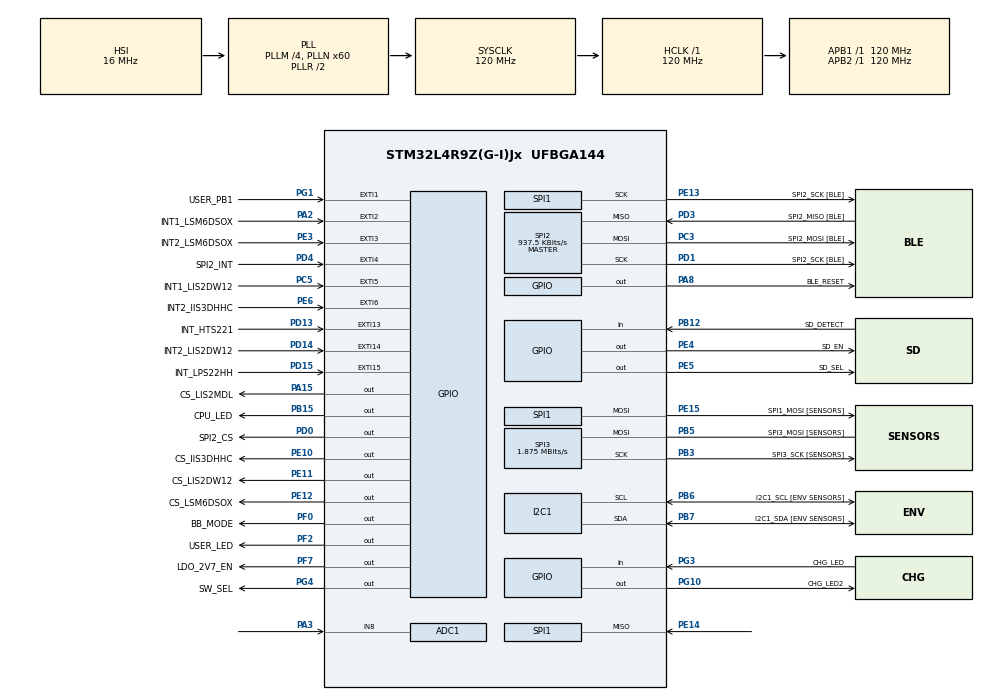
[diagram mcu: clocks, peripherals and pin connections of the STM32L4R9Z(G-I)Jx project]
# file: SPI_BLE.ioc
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ADC1.Channel-7\#ChannelRegularConversion=ADC_CHANNEL_8
ADC1.NbrOfConversionFlag=1
ADC1.OffsetNumber-7\#ChannelRegularConversion=ADC_OFFSET_NONE
ADC1.Rank-7\#ChannelRegularConversion=1
ADC1.SamplingTime-7\#ChannelRegularConversion=ADC_SAMPLETIME_2CYCLES_5
ADC1.master=1
I2C1.Timing=0x307075B1
Mcu.Family=STM32L4
Mcu.Name=STM32L4R9Z(G-I)Jx
Mcu.Package=UFBGA144
NVIC.EXTI4_IRQn=true\:1\:0\:true\:false\:true\:true\:true
NVIC.PriorityGroup=NVIC_PRIORITYGROUP_4
NVIC.TIM6_DAC_IRQn=true\:0\:0\:false\:false\:true\:true\:true
PA11.GPIO_Label=USB OTG DM
PA11.Signal=USB_OTG_FS_DM
PA12.GPIO_Label=USB OTG DP
PA12.Signal=USB_OTG_FS_DP
PA15\ (JTDI).GPIO_Label=CS_LIS2MDL
PA15\ (JTDI).GPIO_ModeDefaultOutputPP=GPIO_MODE_OUTPUT_OD
PA15\ (JTDI).GPIO_Speed=GPIO_SPEED_FREQ_VERY_HIGH
PA15\ (JTDI).PinState=GPIO_PIN_SET
PA15\ (JTDI).Signal=GPIO_Output
PA2.GPIO_Label=INT1_LSM6DSOX
PA2.Signal=GPXTI2
PA3.Signal=ADCx_IN8
PA8.GPIO_Label=BLE_RESET
PA8.Signal=GPIO_Output
PB12.GPIO_Label=SD_DETECT
PB12.Signal=GPIO_Input
PB15.GPIO_Label=CPU_LED
PB15.Signal=GPIO_Output
PB3\ (JTDO/TRACESWO).GPIO_Label=SPI3_SCK [SENSORS]
PB3\ (JTDO/TRACESWO).GPIO_PuPd=GPIO_PULLUP
PB3\ (JTDO/TRACESWO).Mode=Simplex_Bidirectional_Master
PB3\ (JTDO/TRACESWO).Signal=SPI3_SCK
PB4\ (NJTRST).GPIO_Label=SPI3_MISO [SENSORS]
PB4\ (NJTRST).Signal=SPI3_MISO
PB5.GPIO_Label=SPI3_MOSI [SENSORS]
PB5.Mode=Simplex_Bidirectional_Master
PB5.Signal=SPI3_MOSI
PB6.GPIO_Label=I2C1_SCL [ENV SENSORS]
PB6.Mode=I2C
PB6.Signal=I2C1_SCL
PB7.GPIO_Label=I2C1_SDA [ENV SENSORS]
PB7.Mode=I2C
PB7.Signal=I2C1_SDA
PB8.GPIO_Label=SDMMC1_CKIN
PB8.Signal=SDMMC1_CKIN
PB9.GPIO_Label=SDMMC1_CDIR
PB9.Signal=SDMMC1_CDIR
PC10.GPIO_Label=SDMMC1_D2
PC10.Signal=SDMMC1_D2
PC11.GPIO_Label=SDMMC1_D3
PC11.Signal=SDMMC1_D3
PC12.GPIO_Label=SDMMC1_CK
PC12.Signal=SDMMC1_CK
PC14-OSC32_IN\ (PC14).GPIO_Label=RCC_OSC32_IN
PC14-OSC32_IN\ (PC14).Mode=LSE-External-Oscillator
PC14-OSC32_IN\ (PC14).Signal=RCC_OSC32_IN
PC15-OSC32_OUT\ (PC15).GPIO_Label=RCC-OSC32_OUT
PC15-OSC32_OUT\ (PC15).Mode=LSE-External-Oscillator
PC15-OSC32_OUT\ (PC15).Signal=RCC_OSC32_OUT
PC3.GPIO_Label=SPI2_MOSI [BLE]
PC3.Mode=Full_Duplex_Master
PC3.Signal=SPI2_MOSI
PC4.Signal=ADCx_IN13
PC5.GPIO_Label=INT1_LIS2DW12
PC5.Signal=GPXTI5
PC6.GPIO_Label=SDMMC1_D0DIR
PC6.Signal=SDMMC1_D0DIR
PC7.GPIO_Label=SDMMC1_D123DIR
PC7.Signal=SDMMC1_D123DIR
PC8.GPIO_Label=SDMMC1_D0
PC8.Signal=SDMMC1_D0
PC9.GPIO_Label=SDMMC1_D1
PC9.Signal=SDMMC1_D1
PD0.GPIO_Label=SPI2_CS
PD0.GPIO_PuPd=GPIO_PULLUP
PD0.GPIO_Speed=GPIO_SPEED_FREQ_VERY_HIGH
PD0.PinState=GPIO_PIN_SET
PD0.Signal=GPIO_Output
PD1.GPIO_Label=SPI2_SCK [BLE]
PD1.Mode=Full_Duplex_Master
PD1.Signal=SPI2_SCK
PD13.GPIO_Label=INT_HTS221
PD13.Signal=GPXTI13
PD14.GPIO_Label=INT2_LIS2DW12
PD14.Signal=GPXTI14
PD15.GPIO_Label=INT_LPS22HH
PD15.Signal=GPXTI15
PD2.GPIO_Label=SDMMC1_CMD
PD2.Signal=SDMMC1_CMD
PD3.GPIO_Label=SPI2_MISO [BLE]
PD3.Mode=Full_Duplex_Master
PD3.Signal=SPI2_MISO
PD4.GPIO_Label=SPI2_INT
PD4.GPIO_PuPd=GPIO_PULLDOWN
PD4.Signal=GPXTI4
PD5.GPIO_Label=USART2_TX [SERIAL PORT]
PD5.Signal=USART2_TX
PD6.GPIO_Label=USART2_RX [SERIAL PORT]
PD6.Signal=USART2_RX
PE10.GPIO_Label=CS_IIS3DHHC
PE10.GPIO_ModeDefaultOutputPP=GPIO_MODE_OUTPUT_OD
PE10.GPIO_Speed=GPIO_SPEED_FREQ_VERY_HIGH
PE10.PinState=GPIO_PIN_SET
PE10.Signal=GPIO_Output
PE11.GPIO_Label=CS_LIS2DW12
PE11.GPIO_ModeDefaultOutputPP=GPIO_MODE_OUTPUT_OD
PE11.GPIO_Speed=GPIO_SPEED_FREQ_VERY_HIGH
PE11.PinState=GPIO_PIN_SET
PE11.Signal=GPIO_Output
PE12.GPIO_Label=CS_LSM6DSOX
PE12.GPIO_ModeDefaultOutputPP=GPIO_MODE_OUTPUT_OD
PE12.GPIO_Speed=GPIO_SPEED_FREQ_VERY_HIGH
PE12.PinState=GPIO_PIN_SET
PE12.Signal=GPIO_Output
PE13.GPIO_Label=SPI2_SCK [BLE]
PE13.GPIO_PuPd=GPIO_PULLUP
PE13.Mode=Full_Duplex_Master
PE13.Signal=SPI1_SCK
PE14.Mode=Full_Duplex_Master
PE14.Signal=SPI1_MISO
PE15.GPIO_Label=SPI1_MOSI [SENSORS]
PE15.Mode=Full_Duplex_Master
PE15.Signal=SPI1_MOSI
PE3.GPIO_Label=INT2_LSM6DSOX
PE3.Signal=GPXTI3
PE4.GPIO_Label=SD_EN
PE4.PinState=GPIO_PIN_SET
PE4.Signal=GPIO_Output
PE5.GPIO_Label=SD_SEL
PE5.PinState=GPIO_PIN_SET
PE5.Signal=GPIO_Output
PE6.GPIO_Label=INT2_IIS3DHHC
PE6.Signal=GPXTI6
PF0.GPIO_Label=BB_MODE
PF0.PinState=GPIO_PIN_RESET
PF0.Signal=GPIO_Output
PF2.GPIO_Label=USER_LED
PF2.GPIO_ModeDefaultOutputPP=GPIO_MODE_OUTPUT_PP
PF2.Signal=GPIO_Output
PF7.GPIO_Label=LDO_2V7_EN
PF7.PinState=GPIO_PIN_SET
PF7.Signal=GPIO_Output
PG1.GPIO_Label=USER_PB1
PG1.GPIO_ModeDefaultEXTI=GPIO_MODE_IT_FALLING
PG1.Signal=GPXTI1
PG10.GPIO_Label=CHG_LED2
PG10.PinState=GPIO_PIN_SET
PG10.Signal=GPIO_Output
PG3.GPIO_Label=CHG_LED
PG3.Signal=GPIO_Input
PG4.GPIO_Label=SW_SEL
PG4.Signal=GPIO_Output
PG7.GPIO_Label=I2C3_SCL [TEMPERATURE]
PG7.Signal=I2C3_SCL
PG8.GPIO_Label=I2C3_SDA [TEMPERATURE]
PG8.Signal=I2C3_SDA
PH0-OSC_IN\ (PH0).GPIO_Label=RCC_OSC_IN
PH0-OSC_IN\ (PH0).Mode=HSE-External-Oscillator
PH0-OSC_IN\ (PH0).Signal=RCC_OSC_IN
PH1-OSC_OUT\ (PH1).GPIO_Label=RCC_OSC_OUT
PH1-OSC_OUT\ (PH1).Mode=HSE-External-Oscillator
PH1-OSC_OUT\ (PH1).Signal=RCC_OSC_OUT
ProjectManager.HeapSize=0x200
ProjectManager.StackSize=0x400
ProjectManager.TargetToolchain=SW4STM32
RCC.ADCFreq_Value=76800000
RCC.AHBFreq_Value=120000000
RCC.APB1Freq_Value=120000000
RCC.APB1TimFreq_Value=120000000
RCC.APB2Freq_Value=120000000
RCC.APB2TimFreq_Value=120000000
RCC.CK48CLockSelection=RCC_USBCLKSOURCE_HSI48
RCC.CortexFreq_Value=120000000
RCC.HCLKFreq_Value=120000000
RCC.HSE_VALUE=16000000
RCC.HSI48_VALUE=48000000
RCC.HSI_VALUE=16000000
RCC.MSI_VALUE=4000000
RCC.PLLM1=4
RCC.PLLM2=5
RCC.PLLN=60
RCC.PLLP=RCC_PLLP_DIV5
RCC.PLLSAI1N=96
RCC.PLLSAI1Q=RCC_PLLQ_DIV4
RCC.PLLSAI1R=RCC_PLLR_DIV4
RCC.PLLSourceVirtual=RCC_PLLSOURCE_HSI
RCC.SYSCLKFreq_VALUE=120000000
RCC.SYSCLKSource=RCC_SYSCLKSOURCE_PLLCLK
RCC.USBFreq_Value=48000000
RCC.VCOOutputFreq_Value=240000000
SH.ADCx_IN13.0=ADC1_IN13
SH.ADCx_IN8.0=ADC1_IN8,IN8-Single-Ended
SPI1.BaudRatePrescaler=SPI_BAUDRATEPRESCALER_64
SPI1.CalculateBaudRate=1.875 MBits/s
SPI1.DataSize=SPI_DATASIZE_8BIT
SPI1.Direction=SPI_DIRECTION_2LINES
SPI1.Mode=SPI_MODE_MASTER
SPI1.VirtualType=VM_MASTER
SPI2.BaudRatePrescaler=SPI_BAUDRATEPRESCALER_128
SPI2.CLKPhase=SPI_PHASE_2EDGE
SPI2.CalculateBaudRate=937.5 KBits/s
SPI2.DataSize=SPI_DATASIZE_8BIT
SPI2.Direction=SPI_DIRECTION_2LINES
SPI2.Mode=SPI_MODE_MASTER
SPI2.VirtualType=VM_MASTER
SPI3.BaudRatePrescaler=SPI_BAUDRATEPRESCALER_64
SPI3.CalculateBaudRate=1.875 MBits/s
SPI3.DataSize=SPI_DATASIZE_8BIT
SPI3.Direction=SPI_DIRECTION_1LINE
SPI3.Mode=SPI_MODE_MASTER
SPI3.VirtualType=VM_MASTER
TIM6.Period=1000
TIM6.Prescaler=60000
TIM7.Period=10000
TIM7.Prescaler=119
VP_TIM6_VS_ClockSourceINT.Mode=Enable_Timer
VP_TIM7_VS_ClockSourceINT.Mode=Enable_Timer
board=STEVAL-MKSBOX1V1

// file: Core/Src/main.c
/* USER CODE BEGIN Header */
/**
  ******************************************************************************
  * @file           : main.c
  * @brief          : Main program body
  ******************************************************************************
  * @attention
  *
  * <h2><center>&copy; Copyright (c) 2021 STMicroelectronics.
  * All rights reserved.</center></h2>
  *
  * This software component is licensed by ST under Ultimate Liberty license
  * SLA0044, the "License"; You may not use this file except in compliance with
  * the License. You may obtain a copy of the License at:
  *                             www.st.com/SLA0044
  *
  ******************************************************************************
  */
/* USER CODE END Header */
#include "main.h"

/* USER CODE BEGIN Includes */
#include "enable.h"
#include "sensors.h"

int dataAvailable=0;
int eventActive=0;
int update;
/* USER CODE END Includes */

ADC_HandleTypeDef hadc1;

I2C_HandleTypeDef hi2c1;

SPI_HandleTypeDef hspi1;
SPI_HandleTypeDef hspi2;
SPI_HandleTypeDef hspi3;

TIM_HandleTypeDef htim6;
TIM_HandleTypeDef htim7;

/* USER CODE BEGIN PV */

extern uint8_t CUSTOM_SERVICE_HANDLE[2];
extern uint8_t MIC_CHAR_HANDLE[2];
extern uint8_t TEMP_CHAR_HANDLE[2];
extern uint8_t HUM_CHAR_HANDLE[2];
extern uint8_t PRESS_CHAR_HANDLE[2];

extern uint8_t INERTIAL_SERVICE_HANDLE[2];
extern uint8_t ACCX_CHAR_HANDLE[2];
extern uint8_t ACCY_CHAR_HANDLE[2];
extern uint8_t ACCZ_CHAR_HANDLE[2];
extern uint8_t X_VALUE[];
extern uint8_t Y_VALUE[];
extern uint8_t Z_VALUE[];
extern uint8_t MIC_VALUE[];
extern uint8_t VALUE_TEMP[];
extern uint8_t VALUE_HUM[];
extern uint8_t VALUE_PRESS[];

extern uint8_t MAGNETIC_SERVICE_HANDLE[2];
extern uint8_t MAGX_CHAR_HANDLE[2];
extern uint8_t MAGY_CHAR_HANDLE[2];
extern uint8_t MAGZ_CHAR_HANDLE[2];

extern uint8_t GYROSCOPE_SERVICE_HANDLE[2];
extern uint8_t GYROX_CHAR_HANDLE[2];
extern uint8_t GYROY_CHAR_HANDLE[2];
extern uint8_t GYROZ_CHAR_HANDLE[2];

/* USER CODE END PV */

void SystemClock_Config(void);
static void MX_GPIO_Init(void);
static void MX_SPI2_Init(void);
static void MX_TIM6_Init(void);
static void MX_ADC1_Init(void);
static void MX_TIM7_Init(void);
static void MX_SPI1_Init(void);
static void MX_SPI3_Init(void);
static void MX_I2C1_Init(void);

int main(void)
{

  /* MCU Configuration--------------------------------------------------------*/

  /* Reset of all peripherals, Initializes the Flash interface and the Systick. */
  HAL_Init();

  /* Configure the system clock */
  SystemClock_Config();

  /* Initialize all configured peripherals */
  MX_GPIO_Init();
  MX_SPI2_Init();
  MX_TIM6_Init();
  MX_ADC1_Init();
  MX_TIM7_Init();
  MX_SPI1_Init();
  MX_SPI3_Init();
  MX_I2C1_Init();
  /* USER CODE BEGIN 2 */

  //RESET BLE MODULE
  HAL_GPIO_WritePin(BLE_RESET_GPIO_Port,BLE_RESET_Pin,GPIO_PIN_RESET);
  HAL_Delay(10);
  HAL_GPIO_WritePin(BLE_RESET_GPIO_Port,BLE_RESET_Pin,GPIO_PIN_SET);
  //TURN ON THE 2V7
  HAL_GPIO_WritePin(LDO_2V7_EN_GPIO_Port,LDO_2V7_EN_Pin,GPIO_PIN_SET);

  //START THE BLE
  ble_init();

  //STARTING THE MEMS
  init_accelerometer();
  init_magnetometer();
  init_gyroscope();
  initHTS221();
  initLPS22hh();

  //Start the timer
  HAL_TIM_Base_Start_IT(&htim6);

  /* USER CODE END 2 */

  /* Infinite loop */
  /* USER CODE BEGIN WHILE */
  int8_t microphone;
  int16_t accx=0;
  int16_t accy=0;
  int16_t accz=0;
  float temp=0;
  int16_t magx=0;
  int16_t magy=0;
  int16_t magz=0;
  int16_t gyrox=0;
  int16_t gyroy=0;
  int16_t gyroz=0;
  float hum=0;
  float pressure=0;
  while (1)
  {

	  if(dataAvailable>0){//if an event occurs let's catch it
		  catchBLE();

	  }else{
		      if(update){//when the timer triggers and there are no BLE events it will communicate with the accelerometer
		    	  update=0;

                   microphone=getMicrophone();
                   updateSignedMillesimal(CUSTOM_SERVICE_HANDLE,MIC_CHAR_HANDLE,MIC_VALUE,15,microphone);

			       getAxisAccelerometer(&accx,&accy,&accz);
			       updateSignedMillesimal(INERTIAL_SERVICE_HANDLE,ACCX_CHAR_HANDLE,X_VALUE,10,accx);
				   updateSignedMillesimal(INERTIAL_SERVICE_HANDLE,ACCY_CHAR_HANDLE,Y_VALUE,10,accy);
				   updateSignedMillesimal(INERTIAL_SERVICE_HANDLE,ACCZ_CHAR_HANDLE,Z_VALUE,10,accz);

			       getAxisMagnetometer(&magx,&magy,&magz);
			       updateSignedMillesimal(MAGNETIC_SERVICE_HANDLE,MAGX_CHAR_HANDLE,X_VALUE,10,magx);
			       updateSignedMillesimal(MAGNETIC_SERVICE_HANDLE,MAGY_CHAR_HANDLE,Y_VALUE,10,magy);
			       updateSignedMillesimal(MAGNETIC_SERVICE_HANDLE,MAGZ_CHAR_HANDLE,Z_VALUE,10,magz);

			       getAxisGyro(&gyrox,&gyroy,&gyroz);
			       updateSignedMillesimal(GYROSCOPE_SERVICE_HANDLE,GYROX_CHAR_HANDLE,X_VALUE,10,gyrox);
			       updateSignedMillesimal(GYROSCOPE_SERVICE_HANDLE,GYROY_CHAR_HANDLE,Y_VALUE,10,gyroy);
			       updateSignedMillesimal(GYROSCOPE_SERVICE_HANDLE,GYROZ_CHAR_HANDLE,Z_VALUE,10,gyroz);

                   getTemperature(&temp);
                   updateSignedFloat(CUSTOM_SERVICE_HANDLE,TEMP_CHAR_HANDLE,VALUE_TEMP,9,temp);
                   getHumidity(&hum);
                   updateSignedFloat(CUSTOM_SERVICE_HANDLE,HUM_CHAR_HANDLE,VALUE_HUM,8,hum);

                   getPressure(&pressure);
                   updateSignedFloat(CUSTOM_SERVICE_HANDLE,PRESS_CHAR_HANDLE,VALUE_PRESS,10,pressure);

		      }

	  }

	  //go in deep sleep mode until interrupt occurs, like the timer or a BLE event
      __WFI();

    /* USER CODE END WHILE */

  }
}

void SystemClock_Config(void)
{
  RCC_OscInitTypeDef RCC_OscInitStruct = {0};
  RCC_ClkInitTypeDef RCC_ClkInitStruct = {0};
  RCC_PeriphCLKInitTypeDef PeriphClkInit = {0};

  /** Configure the main internal regulator output voltage
  */
  if (HAL_PWREx_ControlVoltageScaling(PWR_REGULATOR_VOLTAGE_SCALE1_BOOST) != HAL_OK)
  {
    Error_Handler();
  }
  /** Initializes the RCC Oscillators according to the specified parameters
  * in the RCC_OscInitTypeDef structure.
  */
  RCC_OscInitStruct.OscillatorType = RCC_OSCILLATORTYPE_HSI;
  RCC_OscInitStruct.HSIState = RCC_HSI_ON;
  RCC_OscInitStruct.HSICalibrationValue = RCC_HSICALIBRATION_DEFAULT;
  RCC_OscInitStruct.PLL.PLLState = RCC_PLL_ON;
  RCC_OscInitStruct.PLL.PLLSource = RCC_PLLSOURCE_HSI;
  RCC_OscInitStruct.PLL.PLLM = 4;
  RCC_OscInitStruct.PLL.PLLN = 60;
  RCC_OscInitStruct.PLL.PLLP = RCC_PLLP_DIV5;
  RCC_OscInitStruct.PLL.PLLQ = RCC_PLLQ_DIV2;
  RCC_OscInitStruct.PLL.PLLR = RCC_PLLR_DIV2;
  if (HAL_RCC_OscConfig(&RCC_OscInitStruct) != HAL_OK)
  {
    Error_Handler();
  }
  /** Initializes the CPU, AHB and APB buses clocks
  */
  RCC_ClkInitStruct.ClockType = RCC_CLOCKTYPE_HCLK|RCC_CLOCKTYPE_SYSCLK
                              |RCC_CLOCKTYPE_PCLK1|RCC_CLOCKTYPE_PCLK2;
  RCC_ClkInitStruct.SYSCLKSource = RCC_SYSCLKSOURCE_PLLCLK;
  RCC_ClkInitStruct.AHBCLKDivider = RCC_SYSCLK_DIV1;
  RCC_ClkInitStruct.APB1CLKDivider = RCC_HCLK_DIV1;
  RCC_ClkInitStruct.APB2CLKDivider = RCC_HCLK_DIV1;

  if (HAL_RCC_ClockConfig(&RCC_ClkInitStruct, FLASH_LATENCY_5) != HAL_OK)
  {
    Error_Handler();
  }
  PeriphClkInit.PeriphClockSelection = RCC_PERIPHCLK_I2C1|RCC_PERIPHCLK_ADC;
  PeriphClkInit.I2c1ClockSelection = RCC_I2C1CLKSOURCE_PCLK1;
  PeriphClkInit.AdcClockSelection = RCC_ADCCLKSOURCE_PLLSAI1;
  PeriphClkInit.PLLSAI1.PLLSAI1Source = RCC_PLLSOURCE_HSI;
  PeriphClkInit.PLLSAI1.PLLSAI1M = 5;
  PeriphClkInit.PLLSAI1.PLLSAI1N = 96;
  PeriphClkInit.PLLSAI1.PLLSAI1P = RCC_PLLP_DIV2;
  PeriphClkInit.PLLSAI1.PLLSAI1Q = RCC_PLLQ_DIV4;
  PeriphClkInit.PLLSAI1.PLLSAI1R = RCC_PLLR_DIV4;
  PeriphClkInit.PLLSAI1.PLLSAI1ClockOut = RCC_PLLSAI1_ADC1CLK;
  if (HAL_RCCEx_PeriphCLKConfig(&PeriphClkInit) != HAL_OK)
  {
    Error_Handler();
  }
}

static void MX_ADC1_Init(void)
{

  ADC_ChannelConfTypeDef sConfig = {0};

  /** Common config
  */
  hadc1.Instance = ADC1;
  hadc1.Init.ClockPrescaler = ADC_CLOCK_ASYNC_DIV1;
  hadc1.Init.Resolution = ADC_RESOLUTION_12B;
  hadc1.Init.DataAlign = ADC_DATAALIGN_RIGHT;
  hadc1.Init.ScanConvMode = ADC_SCAN_DISABLE;
  hadc1.Init.EOCSelection = ADC_EOC_SINGLE_CONV;
  hadc1.Init.LowPowerAutoWait = DISABLE;
  hadc1.Init.ContinuousConvMode = DISABLE;
  hadc1.Init.NbrOfConversion = 1;
  hadc1.Init.DiscontinuousConvMode = DISABLE;
  hadc1.Init.ExternalTrigConv = ADC_SOFTWARE_START;
  hadc1.Init.ExternalTrigConvEdge = ADC_EXTERNALTRIGCONVEDGE_NONE;
  hadc1.Init.DMAContinuousRequests = DISABLE;
  hadc1.Init.Overrun = ADC_OVR_DATA_PRESERVED;
  hadc1.Init.OversamplingMode = DISABLE;
  if (HAL_ADC_Init(&hadc1) != HAL_OK)
  {
    Error_Handler();
  }
  /** Configure Regular Channel
  */
  sConfig.Channel = ADC_CHANNEL_8;
  sConfig.Rank = ADC_REGULAR_RANK_1;
  sConfig.SamplingTime = ADC_SAMPLETIME_2CYCLES_5;
  sConfig.SingleDiff = ADC_SINGLE_ENDED;
  sConfig.OffsetNumber = ADC_OFFSET_NONE;
  sConfig.Offset = 0;
  if (HAL_ADC_ConfigChannel(&hadc1, &sConfig) != HAL_OK)
  {
    Error_Handler();
  }

}

static void MX_I2C1_Init(void)
{

  hi2c1.Instance = I2C1;
  hi2c1.Init.Timing = 0x307075B1;
  hi2c1.Init.OwnAddress1 = 0;
  hi2c1.Init.AddressingMode = I2C_ADDRESSINGMODE_7BIT;
  hi2c1.Init.DualAddressMode = I2C_DUALADDRESS_DISABLE;
  hi2c1.Init.OwnAddress2 = 0;
  hi2c1.Init.OwnAddress2Masks = I2C_OA2_NOMASK;
  hi2c1.Init.GeneralCallMode = I2C_GENERALCALL_DISABLE;
  hi2c1.Init.NoStretchMode = I2C_NOSTRETCH_DISABLE;
  if (HAL_I2C_Init(&hi2c1) != HAL_OK)
  {
    Error_Handler();
  }
  /** Configure Analogue filter
  */
  if (HAL_I2CEx_ConfigAnalogFilter(&hi2c1, I2C_ANALOGFILTER_ENABLE) != HAL_OK)
  {
    Error_Handler();
  }
  /** Configure Digital filter
  */
  if (HAL_I2CEx_ConfigDigitalFilter(&hi2c1, 0) != HAL_OK)
  {
    Error_Handler();
  }

}

static void MX_SPI1_Init(void)
{

  /* SPI1 parameter configuration*/
  hspi1.Instance = SPI1;
  hspi1.Init.Mode = SPI_MODE_MASTER;
  hspi1.Init.Direction = SPI_DIRECTION_2LINES;
  hspi1.Init.DataSize = SPI_DATASIZE_8BIT;
  hspi1.Init.CLKPolarity = SPI_POLARITY_LOW;
  hspi1.Init.CLKPhase = SPI_PHASE_1EDGE;
  hspi1.Init.NSS = SPI_NSS_SOFT;
  hspi1.Init.BaudRatePrescaler = SPI_BAUDRATEPRESCALER_64;
  hspi1.Init.FirstBit = SPI_FIRSTBIT_MSB;
  hspi1.Init.TIMode = SPI_TIMODE_DISABLE;
  hspi1.Init.CRCCalculation = SPI_CRCCALCULATION_DISABLE;
  hspi1.Init.CRCPolynomial = 7;
  hspi1.Init.CRCLength = SPI_CRC_LENGTH_DATASIZE;
  hspi1.Init.NSSPMode = SPI_NSS_PULSE_ENABLE;
  if (HAL_SPI_Init(&hspi1) != HAL_OK)
  {
    Error_Handler();
  }

}

static void MX_SPI2_Init(void)
{

  /* SPI2 parameter configuration*/
  hspi2.Instance = SPI2;
  hspi2.Init.Mode = SPI_MODE_MASTER;
  hspi2.Init.Direction = SPI_DIRECTION_2LINES;
  hspi2.Init.DataSize = SPI_DATASIZE_8BIT;
  hspi2.Init.CLKPolarity = SPI_POLARITY_LOW;
  hspi2.Init.CLKPhase = SPI_PHASE_2EDGE;
  hspi2.Init.NSS = SPI_NSS_SOFT;
  hspi2.Init.BaudRatePrescaler = SPI_BAUDRATEPRESCALER_128;
  hspi2.Init.FirstBit = SPI_FIRSTBIT_MSB;
  hspi2.Init.TIMode = SPI_TIMODE_DISABLE;
  hspi2.Init.CRCCalculation = SPI_CRCCALCULATION_DISABLE;
  hspi2.Init.CRCPolynomial = 7;
  hspi2.Init.CRCLength = SPI_CRC_LENGTH_DATASIZE;
  hspi2.Init.NSSPMode = SPI_NSS_PULSE_DISABLE;
  if (HAL_SPI_Init(&hspi2) != HAL_OK)
  {
    Error_Handler();
  }

}

static void MX_SPI3_Init(void)
{

  /* SPI3 parameter configuration*/
  hspi3.Instance = SPI3;
  hspi3.Init.Mode = SPI_MODE_MASTER;
  hspi3.Init.Direction = SPI_DIRECTION_1LINE;
  hspi3.Init.DataSize = SPI_DATASIZE_8BIT;
  hspi3.Init.CLKPolarity = SPI_POLARITY_LOW;
  hspi3.Init.CLKPhase = SPI_PHASE_1EDGE;
  hspi3.Init.NSS = SPI_NSS_SOFT;
  hspi3.Init.BaudRatePrescaler = SPI_BAUDRATEPRESCALER_64;
  hspi3.Init.FirstBit = SPI_FIRSTBIT_MSB;
  hspi3.Init.TIMode = SPI_TIMODE_DISABLE;
  hspi3.Init.CRCCalculation = SPI_CRCCALCULATION_DISABLE;
  hspi3.Init.CRCPolynomial = 7;
  hspi3.Init.CRCLength = SPI_CRC_LENGTH_DATASIZE;
  hspi3.Init.NSSPMode = SPI_NSS_PULSE_ENABLE;
  if (HAL_SPI_Init(&hspi3) != HAL_OK)
  {
    Error_Handler();
  }

}

static void MX_TIM6_Init(void)
{

  TIM_MasterConfigTypeDef sMasterConfig = {0};

  htim6.Instance = TIM6;
  htim6.Init.Prescaler = 60000;
  htim6.Init.CounterMode = TIM_COUNTERMODE_UP;
  htim6.Init.Period = 1000;
  htim6.Init.AutoReloadPreload = TIM_AUTORELOAD_PRELOAD_DISABLE;
  if (HAL_TIM_Base_Init(&htim6) != HAL_OK)
  {
    Error_Handler();
  }
  sMasterConfig.MasterOutputTrigger = TIM_TRGO_RESET;
  sMasterConfig.MasterSlaveMode = TIM_MASTERSLAVEMODE_DISABLE;
  if (HAL_TIMEx_MasterConfigSynchronization(&htim6, &sMasterConfig) != HAL_OK)
  {
    Error_Handler();
  }

}

static void MX_TIM7_Init(void)
{

  TIM_MasterConfigTypeDef sMasterConfig = {0};

  htim7.Instance = TIM7;
  htim7.Init.Prescaler = 119;
  htim7.Init.CounterMode = TIM_COUNTERMODE_UP;
  htim7.Init.Period = 10000;
  htim7.Init.AutoReloadPreload = TIM_AUTORELOAD_PRELOAD_DISABLE;
  if (HAL_TIM_Base_Init(&htim7) != HAL_OK)
  {
    Error_Handler();
  }
  sMasterConfig.MasterOutputTrigger = TIM_TRGO_RESET;
  sMasterConfig.MasterSlaveMode = TIM_MASTERSLAVEMODE_DISABLE;
  if (HAL_TIMEx_MasterConfigSynchronization(&htim7, &sMasterConfig) != HAL_OK)
  {
    Error_Handler();
  }

}

static void MX_GPIO_Init(void)
{
  GPIO_InitTypeDef GPIO_InitStruct = {0};

  /* GPIO Ports Clock Enable */
  __HAL_RCC_GPIOB_CLK_ENABLE();
  __HAL_RCC_GPIOD_CLK_ENABLE();
  __HAL_RCC_GPIOC_CLK_ENABLE();
  __HAL_RCC_GPIOE_CLK_ENABLE();
  __HAL_RCC_GPIOA_CLK_ENABLE();
  __HAL_RCC_GPIOF_CLK_ENABLE();
  __HAL_RCC_GPIOG_CLK_ENABLE();
  HAL_PWREx_EnableVddIO2();
  __HAL_RCC_GPIOH_CLK_ENABLE();

  /*Configure GPIO pin Output Level */
  HAL_GPIO_WritePin(CS_LIS2MDL_GPIO_Port, CS_LIS2MDL_Pin, GPIO_PIN_SET);

  /*Configure GPIO pin Output Level */
  HAL_GPIO_WritePin(GPIOE, SD_SEL_Pin|SD_EN_Pin|CS_LIS2DW12_Pin|CS_IIS3DHHC_Pin
                          |CS_LSM6DSOX_Pin, GPIO_PIN_SET);

  /*Configure GPIO pin Output Level */
  HAL_GPIO_WritePin(SPI2_CS_GPIO_Port, SPI2_CS_Pin, GPIO_PIN_SET);

  /*Configure GPIO pin Output Level */
  HAL_GPIO_WritePin(BLE_RESET_GPIO_Port, BLE_RESET_Pin, GPIO_PIN_RESET);

  /*Configure GPIO pin Output Level */
  HAL_GPIO_WritePin(GPIOF, USER_LED_Pin|BB_MODE_Pin, GPIO_PIN_RESET);

  /*Configure GPIO pin Output Level */
  HAL_GPIO_WritePin(CHG_LED2_GPIO_Port, CHG_LED2_Pin, GPIO_PIN_SET);

  /*Configure GPIO pin Output Level */
  HAL_GPIO_WritePin(LDO_2V7_EN_GPIO_Port, LDO_2V7_EN_Pin, GPIO_PIN_SET);

  /*Configure GPIO pin Output Level */
  HAL_GPIO_WritePin(SW_SEL_GPIO_Port, SW_SEL_Pin, GPIO_PIN_RESET);

  /*Configure GPIO pin Output Level */
  HAL_GPIO_WritePin(CPU_LED_GPIO_Port, CPU_LED_Pin, GPIO_PIN_RESET);

  /*Configure GPIO pins : SDMMC1_CDIR_Pin SDMMC1_CKIN_Pin */
  GPIO_InitStruct.Pin = SDMMC1_CDIR_Pin|SDMMC1_CKIN_Pin;
  GPIO_InitStruct.Mode = GPIO_MODE_AF_PP;
  GPIO_InitStruct.Pull = GPIO_NOPULL;
  GPIO_InitStruct.Speed = GPIO_SPEED_FREQ_VERY_HIGH;
  GPIO_InitStruct.Alternate = GPIO_AF8_SDMMC1;
  HAL_GPIO_Init(GPIOB, &GPIO_InitStruct);

  /*Configure GPIO pins : SDMMC1_D3_Pin SDMMC1_D2_Pin SDMMC1_D1_Pin SDMMC1_CK_Pin
                           SDMMC1_D0_Pin */
  GPIO_InitStruct.Pin = SDMMC1_D3_Pin|SDMMC1_D2_Pin|SDMMC1_D1_Pin|SDMMC1_CK_Pin
                          |SDMMC1_D0_Pin;
  GPIO_InitStruct.Mode = GPIO_MODE_AF_PP;
  GPIO_InitStruct.Pull = GPIO_NOPULL;
  GPIO_InitStruct.Speed = GPIO_SPEED_FREQ_VERY_HIGH;
  GPIO_InitStruct.Alternate = GPIO_AF12_SDMMC1;
  HAL_GPIO_Init(GPIOC, &GPIO_InitStruct);

  /*Configure GPIO pins : INT2_LSM6DSOX_Pin INT2_IIS3DHHC_Pin */
  GPIO_InitStruct.Pin = INT2_LSM6DSOX_Pin|INT2_IIS3DHHC_Pin;
  GPIO_InitStruct.Mode = GPIO_MODE_IT_RISING;
  GPIO_InitStruct.Pull = GPIO_NOPULL;
  HAL_GPIO_Init(GPIOE, &GPIO_InitStruct);

  /*Configure GPIO pins : USART2_RX_Pin USART2_TX_Pin */
  GPIO_InitStruct.Pin = USART2_RX_Pin|USART2_TX_Pin;
  GPIO_InitStruct.Mode = GPIO_MODE_AF_PP;
  GPIO_InitStruct.Pull = GPIO_NOPULL;
  GPIO_InitStruct.Speed = GPIO_SPEED_FREQ_VERY_HIGH;
  GPIO_InitStruct.Alternate = GPIO_AF7_USART2;
  HAL_GPIO_Init(GPIOD, &GPIO_InitStruct);

  /*Configure GPIO pin : CS_LIS2MDL_Pin */
  GPIO_InitStruct.Pin = CS_LIS2MDL_Pin;
  GPIO_InitStruct.Mode = GPIO_MODE_OUTPUT_OD;
  GPIO_InitStruct.Pull = GPIO_NOPULL;
  GPIO_InitStruct.Speed = GPIO_SPEED_FREQ_VERY_HIGH;
  HAL_GPIO_Init(CS_LIS2MDL_GPIO_Port, &GPIO_InitStruct);

  /*Configure GPIO pins : USB_OTG_DP_Pin USB_OTG_DM_Pin */
  GPIO_InitStruct.Pin = USB_OTG_DP_Pin|USB_OTG_DM_Pin;
  GPIO_InitStruct.Mode = GPIO_MODE_AF_PP;
  GPIO_InitStruct.Pull = GPIO_NOPULL;
  GPIO_InitStruct.Speed = GPIO_SPEED_FREQ_VERY_HIGH;
  GPIO_InitStruct.Alternate = GPIO_AF10_OTG_FS;
  HAL_GPIO_Init(GPIOA, &GPIO_InitStruct);

  /*Configure GPIO pins : SD_SEL_Pin SD_EN_Pin */
  GPIO_InitStruct.Pin = SD_SEL_Pin|SD_EN_Pin;
  GPIO_InitStruct.Mode = GPIO_MODE_OUTPUT_PP;
  GPIO_InitStruct.Pull = GPIO_NOPULL;
  GPIO_InitStruct.Speed = GPIO_SPEED_FREQ_LOW;
  HAL_GPIO_Init(GPIOE, &GPIO_InitStruct);

  /*Configure GPIO pin : SPI2_INT_Pin */
  GPIO_InitStruct.Pin = SPI2_INT_Pin;
  GPIO_InitStruct.Mode = GPIO_MODE_IT_RISING;
  GPIO_InitStruct.Pull = GPIO_PULLDOWN;
  HAL_GPIO_Init(SPI2_INT_GPIO_Port, &GPIO_InitStruct);

  /*Configure GPIO pin : SPI2_CS_Pin */
  GPIO_InitStruct.Pin = SPI2_CS_Pin;
  GPIO_InitStruct.Mode = GPIO_MODE_OUTPUT_PP;
  GPIO_InitStruct.Pull = GPIO_PULLUP;
  GPIO_InitStruct.Speed = GPIO_SPEED_FREQ_VERY_HIGH;
  HAL_GPIO_Init(SPI2_CS_GPIO_Port, &GPIO_InitStruct);

  /*Configure GPIO pin : SDMMC1_CMD_Pin */
  GPIO_InitStruct.Pin = SDMMC1_CMD_Pin;
  GPIO_InitStruct.Mode = GPIO_MODE_AF_PP;
  GPIO_InitStruct.Pull = GPIO_NOPULL;
  GPIO_InitStruct.Speed = GPIO_SPEED_FREQ_VERY_HIGH;
  GPIO_InitStruct.Alternate = GPIO_AF12_SDMMC1;
  HAL_GPIO_Init(SDMMC1_CMD_GPIO_Port, &GPIO_InitStruct);

  /*Configure GPIO pin : BLE_RESET_Pin */
  GPIO_InitStruct.Pin = BLE_RESET_Pin;
  GPIO_InitStruct.Mode = GPIO_MODE_OUTPUT_PP;
  GPIO_InitStruct.Pull = GPIO_NOPULL;
  GPIO_InitStruct.Speed = GPIO_SPEED_FREQ_LOW;
  HAL_GPIO_Init(BLE_RESET_GPIO_Port, &GPIO_InitStruct);

  /*Configure GPIO pins : SDMMC1_D0DIR_Pin SDMMC1_D123DIR_Pin */
  GPIO_InitStruct.Pin = SDMMC1_D0DIR_Pin|SDMMC1_D123DIR_Pin;
  GPIO_InitStruct.Mode = GPIO_MODE_AF_PP;
  GPIO_InitStruct.Pull = GPIO_NOPULL;
  GPIO_InitStruct.Speed = GPIO_SPEED_FREQ_VERY_HIGH;
  GPIO_InitStruct.Alternate = GPIO_AF8_SDMMC1;
  HAL_GPIO_Init(GPIOC, &GPIO_InitStruct);

  /*Configure GPIO pins : USER_LED_Pin BB_MODE_Pin LDO_2V7_EN_Pin */
  GPIO_InitStruct.Pin = USER_LED_Pin|BB_MODE_Pin|LDO_2V7_EN_Pin;
  GPIO_InitStruct.Mode = GPIO_MODE_OUTPUT_PP;
  GPIO_InitStruct.Pull = GPIO_NOPULL;
  GPIO_InitStruct.Speed = GPIO_SPEED_FREQ_LOW;
  HAL_GPIO_Init(GPIOF, &GPIO_InitStruct);

  /*Configure GPIO pins : CHG_LED2_Pin SW_SEL_Pin */
  GPIO_InitStruct.Pin = CHG_LED2_Pin|SW_SEL_Pin;
  GPIO_InitStruct.Mode = GPIO_MODE_OUTPUT_PP;
  GPIO_InitStruct.Pull = GPIO_NOPULL;
  GPIO_InitStruct.Speed = GPIO_SPEED_FREQ_LOW;
  HAL_GPIO_Init(GPIOG, &GPIO_InitStruct);

  /*Configure GPIO pins : I2C3_SDA_Pin I2C3_SCL_Pin */
  GPIO_InitStruct.Pin = I2C3_SDA_Pin|I2C3_SCL_Pin;
  GPIO_InitStruct.Mode = GPIO_MODE_AF_OD;
  GPIO_InitStruct.Pull = GPIO_PULLUP;
  GPIO_InitStruct.Speed = GPIO_SPEED_FREQ_VERY_HIGH;
  GPIO_InitStruct.Alternate = GPIO_AF4_I2C3;
  HAL_GPIO_Init(GPIOG, &GPIO_InitStruct);

  /*Configure GPIO pin : CHG_LED_Pin */
  GPIO_InitStruct.Pin = CHG_LED_Pin;
  GPIO_InitStruct.Mode = GPIO_MODE_INPUT;
  GPIO_InitStruct.Pull = GPIO_NOPULL;
  HAL_GPIO_Init(CHG_LED_GPIO_Port, &GPIO_InitStruct);

  /*Configure GPIO pins : INT_LPS22HH_Pin INT2_LIS2DW12_Pin INT_HTS221_Pin */
  GPIO_InitStruct.Pin = INT_LPS22HH_Pin|INT2_LIS2DW12_Pin|INT_HTS221_Pin;
  GPIO_InitStruct.Mode = GPIO_MODE_IT_RISING;
  GPIO_InitStruct.Pull = GPIO_NOPULL;
  HAL_GPIO_Init(GPIOD, &GPIO_InitStruct);

  /*Configure GPIO pins : CS_LIS2DW12_Pin CS_IIS3DHHC_Pin CS_LSM6DSOX_Pin */
  GPIO_InitStruct.Pin = CS_LIS2DW12_Pin|CS_IIS3DHHC_Pin|CS_LSM6DSOX_Pin;
  GPIO_InitStruct.Mode = GPIO_MODE_OUTPUT_OD;
  GPIO_InitStruct.Pull = GPIO_NOPULL;
  GPIO_InitStruct.Speed = GPIO_SPEED_FREQ_VERY_HIGH;
  HAL_GPIO_Init(GPIOE, &GPIO_InitStruct);

  /*Configure GPIO pin : CPU_LED_Pin */
  GPIO_InitStruct.Pin = CPU_LED_Pin;
  GPIO_InitStruct.Mode = GPIO_MODE_OUTPUT_PP;
  GPIO_InitStruct.Pull = GPIO_NOPULL;
  GPIO_InitStruct.Speed = GPIO_SPEED_FREQ_LOW;
  HAL_GPIO_Init(CPU_LED_GPIO_Port, &GPIO_InitStruct);

  /*Configure GPIO pin : INT1_LIS2DW12_Pin */
  GPIO_InitStruct.Pin = INT1_LIS2DW12_Pin;
  GPIO_InitStruct.Mode = GPIO_MODE_IT_RISING;
  GPIO_InitStruct.Pull = GPIO_NOPULL;
  HAL_GPIO_Init(INT1_LIS2DW12_GPIO_Port, &GPIO_InitStruct);

  /*Configure GPIO pin : INT1_LSM6DSOX_Pin */
  GPIO_InitStruct.Pin = INT1_LSM6DSOX_Pin;
  GPIO_InitStruct.Mode = GPIO_MODE_IT_RISING;
  GPIO_InitStruct.Pull = GPIO_NOPULL;
  HAL_GPIO_Init(INT1_LSM6DSOX_GPIO_Port, &GPIO_InitStruct);

  /*Configure GPIO pin : SD_DETECT_Pin */
  GPIO_InitStruct.Pin = SD_DETECT_Pin;
  GPIO_InitStruct.Mode = GPIO_MODE_INPUT;
  GPIO_InitStruct.Pull = GPIO_NOPULL;
  HAL_GPIO_Init(SD_DETECT_GPIO_Port, &GPIO_InitStruct);

  /*Configure GPIO pin : USER_PB1_Pin */
  GPIO_InitStruct.Pin = USER_PB1_Pin;
  GPIO_InitStruct.Mode = GPIO_MODE_IT_FALLING;
  GPIO_InitStruct.Pull = GPIO_NOPULL;
  HAL_GPIO_Init(USER_PB1_GPIO_Port, &GPIO_InitStruct);

  /* EXTI interrupt init*/
  HAL_NVIC_SetPriority(EXTI4_IRQn, 1, 0);
  HAL_NVIC_EnableIRQ(EXTI4_IRQn);

}

void Error_Handler(void)
{
  __disable_irq();
  while (1)
  {
  }
}

/************************ (C) COPYRIGHT STMicroelectronics *****END OF FILE****/
